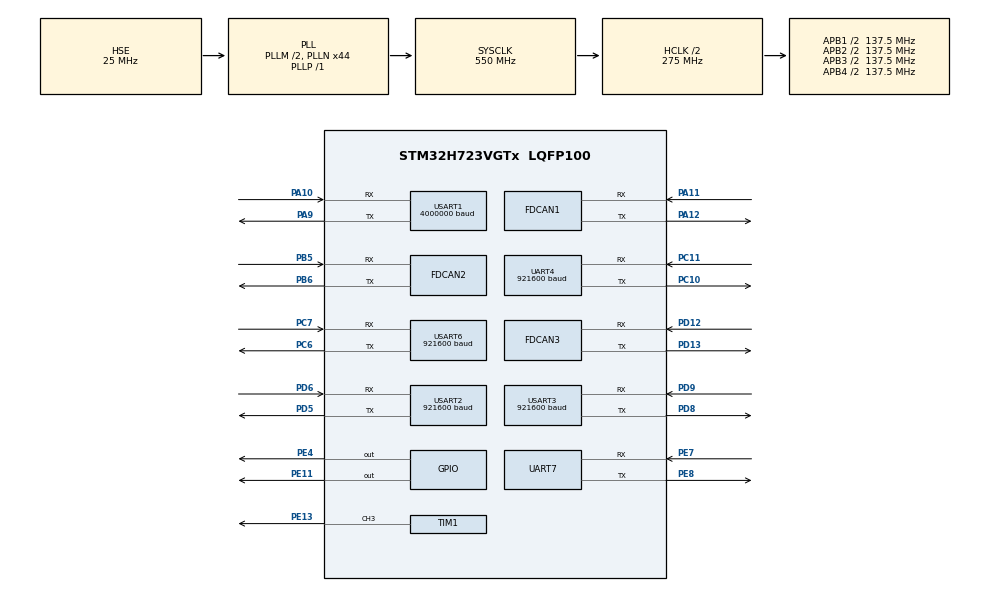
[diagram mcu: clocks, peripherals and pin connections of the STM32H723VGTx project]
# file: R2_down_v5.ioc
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CORTEX_M7.default_mode_Activation=1
Dma.Request0=UART4_RX
Dma.Request1=UART4_TX
Dma.Request10=USART2_RX
Dma.Request11=USART2_TX
Dma.Request12=TIM1_CH3
Dma.Request2=UART7_RX
Dma.Request3=UART7_TX
Dma.Request4=USART1_RX
Dma.Request5=USART1_TX
Dma.Request6=USART3_RX
Dma.Request7=USART3_TX
Dma.Request8=USART6_RX
Dma.Request9=USART6_TX
Dma.TIM1_CH3.12.Direction=DMA_MEMORY_TO_PERIPH
Dma.TIM1_CH3.12.EventEnable=DISABLE
Dma.TIM1_CH3.12.FIFOMode=DMA_FIFOMODE_DISABLE
Dma.TIM1_CH3.12.Instance=DMA2_Stream4
Dma.TIM1_CH3.12.MemDataAlignment=DMA_MDATAALIGN_HALFWORD
Dma.TIM1_CH3.12.MemInc=DMA_MINC_ENABLE
Dma.TIM1_CH3.12.Mode=DMA_NORMAL
Dma.TIM1_CH3.12.PeriphDataAlignment=DMA_PDATAALIGN_HALFWORD
Dma.TIM1_CH3.12.PeriphInc=DMA_PINC_DISABLE
Dma.TIM1_CH3.12.Polarity=HAL_DMAMUX_REQ_GEN_RISING
Dma.TIM1_CH3.12.Priority=DMA_PRIORITY_VERY_HIGH
Dma.TIM1_CH3.12.RequestNumber=1
Dma.TIM1_CH3.12.SignalID=NONE
Dma.TIM1_CH3.12.SyncEnable=DISABLE
Dma.TIM1_CH3.12.SyncPolarity=HAL_DMAMUX_SYNC_NO_EVENT
Dma.TIM1_CH3.12.SyncRequestNumber=1
Dma.TIM1_CH3.12.SyncSignalID=NONE
Dma.UART4_RX.0.Direction=DMA_PERIPH_TO_MEMORY
Dma.UART4_RX.0.EventEnable=DISABLE
Dma.UART4_RX.0.FIFOMode=DMA_FIFOMODE_DISABLE
Dma.UART4_RX.0.Instance=DMA1_Stream0
Dma.UART4_RX.0.MemDataAlignment=DMA_MDATAALIGN_BYTE
Dma.UART4_RX.0.MemInc=DMA_MINC_ENABLE
Dma.UART4_RX.0.Mode=DMA_NORMAL
Dma.UART4_RX.0.PeriphDataAlignment=DMA_PDATAALIGN_BYTE
Dma.UART4_RX.0.PeriphInc=DMA_PINC_DISABLE
Dma.UART4_RX.0.Polarity=HAL_DMAMUX_REQ_GEN_RISING
Dma.UART4_RX.0.Priority=DMA_PRIORITY_VERY_HIGH
Dma.UART4_RX.0.RequestNumber=1
Dma.UART4_RX.0.SignalID=NONE
Dma.UART4_RX.0.SyncEnable=DISABLE
Dma.UART4_RX.0.SyncPolarity=HAL_DMAMUX_SYNC_NO_EVENT
Dma.UART4_RX.0.SyncRequestNumber=1
Dma.UART4_RX.0.SyncSignalID=NONE
Dma.UART4_TX.1.Direction=DMA_MEMORY_TO_PERIPH
Dma.UART4_TX.1.EventEnable=DISABLE
Dma.UART4_TX.1.FIFOMode=DMA_FIFOMODE_DISABLE
Dma.UART4_TX.1.Instance=DMA1_Stream1
Dma.UART4_TX.1.MemDataAlignment=DMA_MDATAALIGN_BYTE
Dma.UART4_TX.1.MemInc=DMA_MINC_ENABLE
Dma.UART4_TX.1.Mode=DMA_NORMAL
Dma.UART4_TX.1.PeriphDataAlignment=DMA_PDATAALIGN_BYTE
Dma.UART4_TX.1.PeriphInc=DMA_PINC_DISABLE
Dma.UART4_TX.1.Polarity=HAL_DMAMUX_REQ_GEN_RISING
Dma.UART4_TX.1.Priority=DMA_PRIORITY_VERY_HIGH
Dma.UART4_TX.1.RequestNumber=1
Dma.UART4_TX.1.SignalID=NONE
Dma.UART4_TX.1.SyncEnable=DISABLE
Dma.UART4_TX.1.SyncPolarity=HAL_DMAMUX_SYNC_NO_EVENT
Dma.UART4_TX.1.SyncRequestNumber=1
Dma.UART4_TX.1.SyncSignalID=NONE
Dma.UART7_RX.2.Direction=DMA_PERIPH_TO_MEMORY
Dma.UART7_RX.2.EventEnable=DISABLE
Dma.UART7_RX.2.FIFOMode=DMA_FIFOMODE_DISABLE
Dma.UART7_RX.2.Instance=DMA1_Stream2
Dma.UART7_RX.2.MemDataAlignment=DMA_MDATAALIGN_BYTE
Dma.UART7_RX.2.MemInc=DMA_MINC_ENABLE
Dma.UART7_RX.2.Mode=DMA_NORMAL
Dma.UART7_RX.2.PeriphDataAlignment=DMA_PDATAALIGN_BYTE
Dma.UART7_RX.2.PeriphInc=DMA_PINC_DISABLE
Dma.UART7_RX.2.Polarity=HAL_DMAMUX_REQ_GEN_RISING
Dma.UART7_RX.2.Priority=DMA_PRIORITY_VERY_HIGH
Dma.UART7_RX.2.RequestNumber=1
Dma.UART7_RX.2.SignalID=NONE
Dma.UART7_RX.2.SyncEnable=DISABLE
Dma.UART7_RX.2.SyncPolarity=HAL_DMAMUX_SYNC_NO_EVENT
Dma.UART7_RX.2.SyncRequestNumber=1
Dma.UART7_RX.2.SyncSignalID=NONE
Dma.UART7_TX.3.Direction=DMA_MEMORY_TO_PERIPH
Dma.UART7_TX.3.EventEnable=DISABLE
Dma.UART7_TX.3.FIFOMode=DMA_FIFOMODE_DISABLE
Dma.UART7_TX.3.Instance=DMA1_Stream3
Dma.UART7_TX.3.MemDataAlignment=DMA_MDATAALIGN_BYTE
Dma.UART7_TX.3.MemInc=DMA_MINC_ENABLE
Dma.UART7_TX.3.Mode=DMA_NORMAL
Dma.UART7_TX.3.PeriphDataAlignment=DMA_PDATAALIGN_BYTE
Dma.UART7_TX.3.PeriphInc=DMA_PINC_DISABLE
Dma.UART7_TX.3.Polarity=HAL_DMAMUX_REQ_GEN_RISING
Dma.UART7_TX.3.Priority=DMA_PRIORITY_VERY_HIGH
Dma.UART7_TX.3.RequestNumber=1
Dma.UART7_TX.3.SignalID=NONE
Dma.UART7_TX.3.SyncEnable=DISABLE
Dma.UART7_TX.3.SyncPolarity=HAL_DMAMUX_SYNC_NO_EVENT
Dma.UART7_TX.3.SyncRequestNumber=1
Dma.UART7_TX.3.SyncSignalID=NONE
Dma.USART1_RX.4.Direction=DMA_PERIPH_TO_MEMORY
Dma.USART1_RX.4.EventEnable=DISABLE
Dma.USART1_RX.4.FIFOMode=DMA_FIFOMODE_DISABLE
Dma.USART1_RX.4.Instance=DMA1_Stream4
Dma.USART1_RX.4.MemDataAlignment=DMA_MDATAALIGN_BYTE
Dma.USART1_RX.4.MemInc=DMA_MINC_ENABLE
Dma.USART1_RX.4.Mode=DMA_NORMAL
Dma.USART1_RX.4.PeriphDataAlignment=DMA_PDATAALIGN_BYTE
Dma.USART1_RX.4.PeriphInc=DMA_PINC_DISABLE
Dma.USART1_RX.4.Polarity=HAL_DMAMUX_REQ_GEN_RISING
Dma.USART1_RX.4.Priority=DMA_PRIORITY_VERY_HIGH
Dma.USART1_RX.4.RequestNumber=1
Dma.USART1_RX.4.SignalID=NONE
Dma.USART1_RX.4.SyncEnable=DISABLE
Dma.USART1_RX.4.SyncPolarity=HAL_DMAMUX_SYNC_NO_EVENT
Dma.USART1_RX.4.SyncRequestNumber=1
Dma.USART1_RX.4.SyncSignalID=NONE
Dma.USART1_TX.5.Direction=DMA_MEMORY_TO_PERIPH
Dma.USART1_TX.5.EventEnable=DISABLE
Dma.USART1_TX.5.FIFOMode=DMA_FIFOMODE_DISABLE
Dma.USART1_TX.5.Instance=DMA1_Stream5
Dma.USART1_TX.5.MemDataAlignment=DMA_MDATAALIGN_BYTE
Dma.USART1_TX.5.MemInc=DMA_MINC_ENABLE
Dma.USART1_TX.5.Mode=DMA_NORMAL
Dma.USART1_TX.5.PeriphDataAlignment=DMA_PDATAALIGN_BYTE
Dma.USART1_TX.5.PeriphInc=DMA_PINC_DISABLE
Dma.USART1_TX.5.Polarity=HAL_DMAMUX_REQ_GEN_RISING
Dma.USART1_TX.5.Priority=DMA_PRIORITY_VERY_HIGH
Dma.USART1_TX.5.RequestNumber=1
Dma.USART1_TX.5.SignalID=NONE
Dma.USART1_TX.5.SyncEnable=DISABLE
Dma.USART1_TX.5.SyncPolarity=HAL_DMAMUX_SYNC_NO_EVENT
Dma.USART1_TX.5.SyncRequestNumber=1
Dma.USART1_TX.5.SyncSignalID=NONE
Dma.USART2_RX.10.Direction=DMA_PERIPH_TO_MEMORY
Dma.USART2_RX.10.EventEnable=DISABLE
Dma.USART2_RX.10.FIFOMode=DMA_FIFOMODE_DISABLE
Dma.USART2_RX.10.Instance=DMA2_Stream2
Dma.USART2_RX.10.MemDataAlignment=DMA_MDATAALIGN_BYTE
Dma.USART2_RX.10.MemInc=DMA_MINC_ENABLE
Dma.USART2_RX.10.Mode=DMA_NORMAL
Dma.USART2_RX.10.PeriphDataAlignment=DMA_PDATAALIGN_BYTE
Dma.USART2_RX.10.PeriphInc=DMA_PINC_DISABLE
Dma.USART2_RX.10.Polarity=HAL_DMAMUX_REQ_GEN_RISING
Dma.USART2_RX.10.Priority=DMA_PRIORITY_VERY_HIGH
Dma.USART2_RX.10.RequestNumber=1
Dma.USART2_RX.10.SignalID=NONE
Dma.USART2_RX.10.SyncEnable=DISABLE
Dma.USART2_RX.10.SyncPolarity=HAL_DMAMUX_SYNC_NO_EVENT
Dma.USART2_RX.10.SyncRequestNumber=1
Dma.USART2_RX.10.SyncSignalID=NONE
Dma.USART2_TX.11.Direction=DMA_MEMORY_TO_PERIPH
Dma.USART2_TX.11.EventEnable=DISABLE
Dma.USART2_TX.11.FIFOMode=DMA_FIFOMODE_DISABLE
Dma.USART2_TX.11.Instance=DMA2_Stream3
Dma.USART2_TX.11.MemDataAlignment=DMA_MDATAALIGN_BYTE
Dma.USART2_TX.11.MemInc=DMA_MINC_ENABLE
Dma.USART2_TX.11.Mode=DMA_NORMAL
Dma.USART2_TX.11.PeriphDataAlignment=DMA_PDATAALIGN_BYTE
Dma.USART2_TX.11.PeriphInc=DMA_PINC_DISABLE
Dma.USART2_TX.11.Polarity=HAL_DMAMUX_REQ_GEN_RISING
Dma.USART2_TX.11.Priority=DMA_PRIORITY_VERY_HIGH
Dma.USART2_TX.11.RequestNumber=1
Dma.USART2_TX.11.SignalID=NONE
Dma.USART2_TX.11.SyncEnable=DISABLE
Dma.USART2_TX.11.SyncPolarity=HAL_DMAMUX_SYNC_NO_EVENT
Dma.USART2_TX.11.SyncRequestNumber=1
Dma.USART2_TX.11.SyncSignalID=NONE
Dma.USART3_RX.6.Direction=DMA_PERIPH_TO_MEMORY
Dma.USART3_RX.6.EventEnable=DISABLE
Dma.USART3_RX.6.FIFOMode=DMA_FIFOMODE_DISABLE
Dma.USART3_RX.6.Instance=DMA1_Stream6
Dma.USART3_RX.6.MemDataAlignment=DMA_MDATAALIGN_BYTE
Dma.USART3_RX.6.MemInc=DMA_MINC_ENABLE
Dma.USART3_RX.6.Mode=DMA_NORMAL
Dma.USART3_RX.6.PeriphDataAlignment=DMA_PDATAALIGN_BYTE
Dma.USART3_RX.6.PeriphInc=DMA_PINC_DISABLE
Dma.USART3_RX.6.Polarity=HAL_DMAMUX_REQ_GEN_RISING
Dma.USART3_RX.6.Priority=DMA_PRIORITY_VERY_HIGH
Dma.USART3_RX.6.RequestNumber=1
Dma.USART3_RX.6.SignalID=NONE
Dma.USART3_RX.6.SyncEnable=DISABLE
Dma.USART3_RX.6.SyncPolarity=HAL_DMAMUX_SYNC_NO_EVENT
Dma.USART3_RX.6.SyncRequestNumber=1
Dma.USART3_RX.6.SyncSignalID=NONE
Dma.USART3_TX.7.Direction=DMA_MEMORY_TO_PERIPH
Dma.USART3_TX.7.EventEnable=DISABLE
Dma.USART3_TX.7.FIFOMode=DMA_FIFOMODE_DISABLE
Dma.USART3_TX.7.Instance=DMA1_Stream7
Dma.USART3_TX.7.MemDataAlignment=DMA_MDATAALIGN_BYTE
Dma.USART3_TX.7.MemInc=DMA_MINC_ENABLE
Dma.USART3_TX.7.Mode=DMA_NORMAL
Dma.USART3_TX.7.PeriphDataAlignment=DMA_PDATAALIGN_BYTE
Dma.USART3_TX.7.PeriphInc=DMA_PINC_DISABLE
Dma.USART3_TX.7.Polarity=HAL_DMAMUX_REQ_GEN_RISING
Dma.USART3_TX.7.Priority=DMA_PRIORITY_VERY_HIGH
Dma.USART3_TX.7.RequestNumber=1
Dma.USART3_TX.7.SignalID=NONE
Dma.USART3_TX.7.SyncEnable=DISABLE
Dma.USART3_TX.7.SyncPolarity=HAL_DMAMUX_SYNC_NO_EVENT
Dma.USART3_TX.7.SyncRequestNumber=1
Dma.USART3_TX.7.SyncSignalID=NONE
Dma.USART6_RX.8.Direction=DMA_PERIPH_TO_MEMORY
Dma.USART6_RX.8.EventEnable=DISABLE
Dma.USART6_RX.8.FIFOMode=DMA_FIFOMODE_DISABLE
Dma.USART6_RX.8.Instance=DMA2_Stream0
Dma.USART6_RX.8.MemDataAlignment=DMA_MDATAALIGN_BYTE
Dma.USART6_RX.8.MemInc=DMA_MINC_ENABLE
Dma.USART6_RX.8.Mode=DMA_NORMAL
Dma.USART6_RX.8.PeriphDataAlignment=DMA_PDATAALIGN_BYTE
Dma.USART6_RX.8.PeriphInc=DMA_PINC_DISABLE
Dma.USART6_RX.8.Polarity=HAL_DMAMUX_REQ_GEN_RISING
Dma.USART6_RX.8.Priority=DMA_PRIORITY_VERY_HIGH
Dma.USART6_RX.8.RequestNumber=1
Dma.USART6_RX.8.SignalID=NONE
Dma.USART6_RX.8.SyncEnable=DISABLE
Dma.USART6_RX.8.SyncPolarity=HAL_DMAMUX_SYNC_NO_EVENT
Dma.USART6_RX.8.SyncRequestNumber=1
Dma.USART6_RX.8.SyncSignalID=NONE
Dma.USART6_TX.9.Direction=DMA_MEMORY_TO_PERIPH
Dma.USART6_TX.9.EventEnable=DISABLE
Dma.USART6_TX.9.FIFOMode=DMA_FIFOMODE_DISABLE
Dma.USART6_TX.9.Instance=DMA2_Stream1
Dma.USART6_TX.9.MemDataAlignment=DMA_MDATAALIGN_BYTE
Dma.USART6_TX.9.MemInc=DMA_MINC_ENABLE
Dma.USART6_TX.9.Mode=DMA_NORMAL
Dma.USART6_TX.9.PeriphDataAlignment=DMA_PDATAALIGN_BYTE
Dma.USART6_TX.9.PeriphInc=DMA_PINC_DISABLE
Dma.USART6_TX.9.Polarity=HAL_DMAMUX_REQ_GEN_RISING
Dma.USART6_TX.9.Priority=DMA_PRIORITY_VERY_HIGH
Dma.USART6_TX.9.RequestNumber=1
Dma.USART6_TX.9.SignalID=NONE
Dma.USART6_TX.9.SyncEnable=DISABLE
Dma.USART6_TX.9.SyncPolarity=HAL_DMAMUX_SYNC_NO_EVENT
Dma.USART6_TX.9.SyncRequestNumber=1
Dma.USART6_TX.9.SyncSignalID=NONE
FDCAN1.AutoRetransmission=ENABLE
FDCAN1.CalculateBaudRateNominal=1000000
FDCAN1.CalculateTimeBitNominal=1000
FDCAN1.CalculateTimeQuantumNominal=40.0
FDCAN1.DataSyncJumpWidth=6
FDCAN1.DataTimeSeg1=18
FDCAN1.DataTimeSeg2=6
FDCAN1.Mode=FDCAN_MODE_NORMAL
FDCAN1.NominalPrescaler=1
FDCAN1.NominalSyncJumpWidth=6
FDCAN1.NominalTimeSeg1=18
FDCAN1.NominalTimeSeg2=6
FDCAN1.RxFifo0ElmtsNbr=4
FDCAN1.StdFiltersNbr=1
FDCAN1.TxBuffersNbr=16
FDCAN1.TxFifoQueueElmtsNbr=16
FDCAN2.AutoRetransmission=ENABLE
FDCAN2.CalculateBaudRateNominal=1000000
FDCAN2.CalculateTimeBitNominal=1000
FDCAN2.CalculateTimeQuantumNominal=40.0
FDCAN2.DataSyncJumpWidth=6
FDCAN2.DataTimeSeg1=18
FDCAN2.DataTimeSeg2=6
FDCAN2.MessageRAMOffset=800
FDCAN2.NominalPrescaler=1
FDCAN2.NominalSyncJumpWidth=6
FDCAN2.NominalTimeSeg1=18
FDCAN2.NominalTimeSeg2=6
FDCAN2.RxFifo0ElmtsNbr=4
FDCAN2.StdFiltersNbr=1
FDCAN2.TxBuffersNbr=16
FDCAN2.TxFifoQueueElmtsNbr=16
FDCAN3.AutoRetransmission=ENABLE
FDCAN3.CalculateBaudRateNominal=1000000
FDCAN3.CalculateTimeBitNominal=1000
FDCAN3.CalculateTimeQuantumNominal=40.0
FDCAN3.DataSyncJumpWidth=6
FDCAN3.DataTimeSeg1=18
FDCAN3.DataTimeSeg2=6
FDCAN3.MessageRAMOffset=1600
FDCAN3.NominalPrescaler=1
FDCAN3.NominalSyncJumpWidth=6
FDCAN3.NominalTimeSeg1=18
FDCAN3.NominalTimeSeg2=6
FDCAN3.RxFifo0ElmtsNbr=4
FDCAN3.StdFiltersNbr=1
FDCAN3.TxBuffersNbr=16
FDCAN3.TxFifoQueueElmtsNbr=16
FREERTOS.Tasks01=vofa_task,24,512,vofa_task_,Default,NULL,Dynamic,NULL,NULL;all_logic_task,24,2048,all_logic_task_,Default,NULL,Dynamic,NULL,NULL;run_led_task,24,128,run_led_task_,Default,NULL,Dynamic,NULL,NULL;pos_yaw_task,24,512,pos_yaw_task_,Default,NULL,Dynamic,NULL,NULL
Mcu.Family=STM32H7
Mcu.Name=STM32H723VGTx
Mcu.Package=LQFP100
NVIC.DMA1_Stream0_IRQn=true\:5\:0\:false\:false\:true\:true\:false\:true\:true
NVIC.DMA1_Stream1_IRQn=true\:5\:0\:false\:false\:true\:true\:false\:true\:true
NVIC.DMA1_Stream2_IRQn=true\:5\:0\:false\:false\:true\:true\:false\:true\:true
NVIC.DMA1_Stream3_IRQn=true\:5\:0\:false\:false\:true\:true\:false\:true\:true
NVIC.DMA1_Stream4_IRQn=true\:5\:0\:false\:false\:true\:true\:false\:true\:true
NVIC.DMA1_Stream5_IRQn=true\:5\:0\:false\:false\:true\:true\:false\:true\:true
NVIC.DMA1_Stream6_IRQn=true\:5\:0\:false\:false\:true\:true\:false\:true\:true
NVIC.DMA1_Stream7_IRQn=true\:5\:0\:false\:false\:true\:true\:false\:true\:true
NVIC.DMA2_Stream0_IRQn=true\:5\:0\:false\:false\:true\:true\:false\:true\:true
NVIC.DMA2_Stream1_IRQn=true\:5\:0\:false\:false\:true\:true\:false\:true\:true
NVIC.DMA2_Stream2_IRQn=true\:5\:0\:false\:false\:true\:true\:false\:true\:true
NVIC.DMA2_Stream3_IRQn=true\:5\:0\:false\:false\:true\:true\:false\:true\:true
NVIC.DMA2_Stream4_IRQn=true\:5\:0\:false\:false\:true\:true\:false\:true\:true
NVIC.FDCAN1_IT0_IRQn=true\:5\:0\:false\:false\:true\:true\:true\:true\:true
NVIC.FDCAN2_IT0_IRQn=true\:5\:0\:false\:false\:true\:true\:true\:true\:true
NVIC.FDCAN3_IT0_IRQn=true\:5\:0\:false\:false\:true\:true\:true\:true\:true
NVIC.PriorityGroup=NVIC_PRIORITYGROUP_4
NVIC.TIM5_IRQn=true\:5\:0\:false\:false\:true\:true\:true\:true\:true
NVIC.TIM6_DAC_IRQn=true\:15\:0\:false\:false\:true\:false\:false\:true\:true
NVIC.TIM7_IRQn=true\:5\:0\:false\:false\:true\:true\:true\:true\:true
NVIC.TimeBase=TIM6_DAC_IRQn
NVIC.TimeBaseIP=TIM6
NVIC.UART4_IRQn=true\:5\:0\:false\:false\:true\:true\:true\:true\:true
NVIC.UART7_IRQn=true\:5\:0\:false\:false\:true\:true\:true\:true\:true
NVIC.USART1_IRQn=true\:5\:0\:false\:false\:true\:true\:true\:true\:true
NVIC.USART2_IRQn=true\:5\:0\:false\:false\:true\:true\:true\:true\:true
NVIC.USART3_IRQn=true\:5\:0\:false\:false\:true\:true\:true\:true\:true
NVIC.USART6_IRQn=true\:5\:0\:false\:false\:true\:true\:true\:true\:true
PA10.GPIO_Speed=GPIO_SPEED_FREQ_VERY_HIGH
PA10.Mode=Asynchronous
PA10.Signal=USART1_RX
PA11.GPIO_Speed=GPIO_SPEED_FREQ_VERY_HIGH
PA11.Mode=FDCAN_Activate
PA11.Signal=FDCAN1_RX
PA12.GPIO_Speed=GPIO_SPEED_FREQ_VERY_HIGH
PA12.Mode=FDCAN_Activate
PA12.Signal=FDCAN1_TX
PA13(JTMS/SWDIO).Mode=Serial_Wire
PA13(JTMS/SWDIO).Signal=DEBUG_JTMS-SWDIO
PA14(JTCK/SWCLK).Mode=Serial_Wire
PA14(JTCK/SWCLK).Signal=DEBUG_JTCK-SWCLK
PA9.GPIO_Speed=GPIO_SPEED_FREQ_VERY_HIGH
PA9.Mode=Asynchronous
PA9.Signal=USART1_TX
PB5.GPIO_Speed=GPIO_SPEED_FREQ_VERY_HIGH
PB5.Mode=FDCAN_Activate
PB5.Signal=FDCAN2_RX
PB6.GPIO_Speed=GPIO_SPEED_FREQ_VERY_HIGH
PB6.Mode=FDCAN_Activate
PB6.Signal=FDCAN2_TX
PC10.GPIO_Speed=GPIO_SPEED_FREQ_VERY_HIGH
PC10.Mode=Asynchronous
PC10.Signal=UART4_TX
PC11.GPIO_Speed=GPIO_SPEED_FREQ_VERY_HIGH
PC11.Mode=Asynchronous
PC11.Signal=UART4_RX
PC14-OSC32_IN.Mode=LSE-External-Oscillator
PC14-OSC32_IN.Signal=RCC_OSC32_IN
PC15-OSC32_OUT.Mode=LSE-External-Oscillator
PC15-OSC32_OUT.Signal=RCC_OSC32_OUT
PC6.GPIO_Speed=GPIO_SPEED_FREQ_VERY_HIGH
PC6.Mode=Asynchronous
PC6.Signal=USART6_TX
PC7.GPIO_Speed=GPIO_SPEED_FREQ_VERY_HIGH
PC7.Mode=Asynchronous
PC7.Signal=USART6_RX
PD12.GPIO_Speed=GPIO_SPEED_FREQ_VERY_HIGH
PD12.Mode=FDCAN_Activate
PD12.Signal=FDCAN3_RX
PD13.GPIO_Speed=GPIO_SPEED_FREQ_VERY_HIGH
PD13.Mode=FDCAN_Activate
PD13.Signal=FDCAN3_TX
PD5.GPIO_Speed=GPIO_SPEED_FREQ_VERY_HIGH
PD5.Mode=Asynchronous
PD5.Signal=USART2_TX
PD6.GPIO_Speed=GPIO_SPEED_FREQ_VERY_HIGH
PD6.Mode=Asynchronous
PD6.Signal=USART2_RX
PD8.GPIO_Speed=GPIO_SPEED_FREQ_VERY_HIGH
PD8.Mode=Asynchronous
PD8.Signal=USART3_TX
PD9.GPIO_Speed=GPIO_SPEED_FREQ_VERY_HIGH
PD9.Mode=Asynchronous
PD9.Signal=USART3_RX
PE11.Signal=GPIO_Output
PE13.GPIO_PuPd=GPIO_PULLUP
PE13.GPIO_Speed=GPIO_SPEED_FREQ_VERY_HIGH
PE13.Signal=S_TIM1_CH3
PE4.GPIO_PuPd=GPIO_PULLDOWN
PE4.GPIO_Speed=GPIO_SPEED_FREQ_VERY_HIGH
PE4.PinState=GPIO_PIN_SET
PE4.Signal=GPIO_Output
PE7.GPIO_PuPd=GPIO_NOPULL
PE7.GPIO_Speed=GPIO_SPEED_FREQ_VERY_HIGH
PE7.Mode=Asynchronous
PE7.Signal=UART7_RX
PE8.GPIO_Speed=GPIO_SPEED_FREQ_VERY_HIGH
PE8.Mode=Asynchronous
PE8.Signal=UART7_TX
PH0-OSC_IN.Mode=HSE-External-Oscillator
PH0-OSC_IN.Signal=RCC_OSC_IN
PH1-OSC_OUT.Mode=HSE-External-Oscillator
PH1-OSC_OUT.Signal=RCC_OSC_OUT
ProjectManager.HeapSize=0x200
ProjectManager.StackSize=0x400
ProjectManager.TargetToolchain=MDK-ARM V5.32
RCC.ADCFreq_Value=50390625
RCC.APB1Freq_Value=137500000
RCC.APB2Freq_Value=137500000
RCC.APB3Freq_Value=137500000
RCC.APB4Freq_Value=137500000
RCC.CortexFreq_Value=550000000
RCC.D1PPRE=RCC_APB3_DIV2
RCC.D2PPRE1=RCC_APB1_DIV2
RCC.D2PPRE2=RCC_APB2_DIV2
RCC.D3PPRE=RCC_APB4_DIV2
RCC.DIVM1=2
RCC.DIVN1=44
RCC.DIVP1=1
RCC.DIVQ1=4
RCC.FDCANCLockSelection=RCC_FDCANCLKSOURCE_HSE
RCC.HCLKFreq_Value=275000000
RCC.HPRE=RCC_HCLK_DIV2
RCC.PLLFRACN=0
RCC.PLLSourceVirtual=RCC_PLLSOURCE_HSE
RCC.SYSCLKFreq_VALUE=550000000
RCC.SYSCLKSource=RCC_SYSCLKSOURCE_PLLCLK
RCC.USBFreq_Value=137500000
SH.S_TIM1_CH3.0=TIM1_CH3,PWM Generation3 CH3
TIM1.Channel-PWM\ Generation3\ CH3=TIM_CHANNEL_3
TIM1.Period=343
TIM1.Prescaler=0
TIM5.AutoReloadPreload=TIM_AUTORELOAD_PRELOAD_ENABLE
TIM5.Period=250-1
TIM5.Prescaler=275-1
TIM7.AutoReloadPreload=TIM_AUTORELOAD_PRELOAD_ENABLE
TIM7.Period=999
TIM7.Prescaler=275-1
UART4.BaudRate=921600
UART4.OverSampling=UART_OVERSAMPLING_8
USART1.BaudRate=4000000
USART1.OverSampling=UART_OVERSAMPLING_8
USART1.VirtualMode-Asynchronous=VM_ASYNC
USART2.BaudRate=921600
USART2.OverSampling=UART_OVERSAMPLING_8
USART2.VirtualMode-Asynchronous=VM_ASYNC
USART3.BaudRate=921600
USART3.OverSampling=UART_OVERSAMPLING_8
USART3.VirtualMode-Asynchronous=VM_ASYNC
USART6.BaudRate=921600
USART6.OverSampling=UART_OVERSAMPLING_8
USART6.VirtualMode=VM_ASYNC
VP_FREERTOS_VS_CMSIS_V2.Mode=CMSIS_V2
VP_MEMORYMAP_VS_MEMORYMAP.Mode=CurAppReg
VP_SYS_VS_tim6.Mode=TIM6
VP_TIM1_VS_ClockSourceINT.Mode=Internal
VP_TIM5_VS_ClockSourceINT.Mode=Internal
VP_TIM7_VS_ClockSourceINT.Mode=Enable_Timer
board=custom

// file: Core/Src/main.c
/* USER CODE BEGIN Header */
/**
  ******************************************************************************
  * @file           : main.c
  * @brief          : Main program body
  ******************************************************************************
  * @attention
  *
  * Copyright (c) 2026 STMicroelectronics.
  * All rights reserved.
  *
  * This software is licensed under terms that can be found in the LICENSE file
  * in the root directory of this software component.
  * If no LICENSE file comes with this software, it is provided AS-IS.
  *
  ******************************************************************************
  */
/* USER CODE END Header */
#include "main.h"
#include "FreeRTOS.h"
#include "cmsis_os2.h"
#include "dma.h"
#include "fdcan.h"
#include "tim.h"
#include "usart.h"
#include "gpio.h"

/* USER CODE BEGIN Includes */
#include "Type.h"
#include "ALL_INIT.h"
#include "communication.h"
/* USER CODE END Includes */

void SystemClock_Config(void);
static void MPU_Config(void);
void MX_FREERTOS_Init(void);

int main(void)
{

  /* MPU Configuration--------------------------------------------------------*/
  MPU_Config();

  /* MCU Configuration--------------------------------------------------------*/

  /* Reset of all peripherals, Initializes the Flash interface and the Systick. */
  HAL_Init();

  /* Configure the system clock */
  SystemClock_Config();

  /* Initialize all configured peripherals */
  MX_GPIO_Init();
  MX_DMA_Init();
  MX_FDCAN1_Init();
  MX_FDCAN2_Init();
  MX_FDCAN3_Init();
  MX_UART4_Init();
  MX_UART7_Init();
  MX_USART1_UART_Init();
  MX_USART3_UART_Init();
  MX_TIM7_Init();
  MX_USART6_UART_Init();
  MX_TIM5_Init();
  MX_USART2_UART_Init();
  MX_TIM1_Init();
  /* USER CODE BEGIN 2 */
	HAL_Delay(60);
	all_init();
  /* USER CODE END 2 */

  /* Init scheduler */
  osKernelInitialize();  /* Call init function for freertos objects (in cmsis_os2.c) */
  MX_FREERTOS_Init();

  /* Start scheduler */
  osKernelStart();

  /* We should never get here as control is now taken by the scheduler */

  /* Infinite loop */
  while (1)
  {

  }
}

void SystemClock_Config(void)
{
  RCC_OscInitTypeDef RCC_OscInitStruct = {0};
  RCC_ClkInitTypeDef RCC_ClkInitStruct = {0};

  /** Supply configuration update enable
  */
  HAL_PWREx_ConfigSupply(PWR_LDO_SUPPLY);

  /** Configure the main internal regulator output voltage
  */
  __HAL_PWR_VOLTAGESCALING_CONFIG(PWR_REGULATOR_VOLTAGE_SCALE0);

  while(!__HAL_PWR_GET_FLAG(PWR_FLAG_VOSRDY)) {}

  /** Initializes the RCC Oscillators according to the specified parameters
  * in the RCC_OscInitTypeDef structure.
  */
  RCC_OscInitStruct.OscillatorType = RCC_OSCILLATORTYPE_HSE;
  RCC_OscInitStruct.HSEState = RCC_HSE_ON;
  RCC_OscInitStruct.PLL.PLLState = RCC_PLL_ON;
  RCC_OscInitStruct.PLL.PLLSource = RCC_PLLSOURCE_HSE;
  RCC_OscInitStruct.PLL.PLLM = 2;
  RCC_OscInitStruct.PLL.PLLN = 44;
  RCC_OscInitStruct.PLL.PLLP = 1;
  RCC_OscInitStruct.PLL.PLLQ = 4;
  RCC_OscInitStruct.PLL.PLLR = 2;
  RCC_OscInitStruct.PLL.PLLRGE = RCC_PLL1VCIRANGE_3;
  RCC_OscInitStruct.PLL.PLLVCOSEL = RCC_PLL1VCOWIDE;
  RCC_OscInitStruct.PLL.PLLFRACN = 0;
  if (HAL_RCC_OscConfig(&RCC_OscInitStruct) != HAL_OK)
  {
    Error_Handler();
  }

  /** Initializes the CPU, AHB and APB buses clocks
  */
  RCC_ClkInitStruct.ClockType = RCC_CLOCKTYPE_HCLK|RCC_CLOCKTYPE_SYSCLK
                              |RCC_CLOCKTYPE_PCLK1|RCC_CLOCKTYPE_PCLK2
                              |RCC_CLOCKTYPE_D3PCLK1|RCC_CLOCKTYPE_D1PCLK1;
  RCC_ClkInitStruct.SYSCLKSource = RCC_SYSCLKSOURCE_PLLCLK;
  RCC_ClkInitStruct.SYSCLKDivider = RCC_SYSCLK_DIV1;
  RCC_ClkInitStruct.AHBCLKDivider = RCC_HCLK_DIV2;
  RCC_ClkInitStruct.APB3CLKDivider = RCC_APB3_DIV2;
  RCC_ClkInitStruct.APB1CLKDivider = RCC_APB1_DIV2;
  RCC_ClkInitStruct.APB2CLKDivider = RCC_APB2_DIV2;
  RCC_ClkInitStruct.APB4CLKDivider = RCC_APB4_DIV2;

  if (HAL_RCC_ClockConfig(&RCC_ClkInitStruct, FLASH_LATENCY_3) != HAL_OK)
  {
    Error_Handler();
  }
}

/* USER CODE BEGIN 4 */

// H7 的 FDCAN 将错误细分为了两类回调：
// 1. HAL_FDCAN_ErrorCallback (处理常规错误)
// 2. HAL_FDCAN_ErrorStatusCallback (专门处理状态改变，比如 Bus-Off、Error Passive)
// 使用第 2 个回调函数。
void HAL_FDCAN_ErrorStatusCallback(FDCAN_HandleTypeDef *hfdcan, uint32_t ErrorStatusITs) {
    if (hfdcan == &hfdcan1 || hfdcan == &hfdcan2 || hfdcan == &hfdcan3) { // 确认是哪个 CAN 通道触发的
        // 判断中断触发类型是不是 Bus-Off
        if ((ErrorStatusITs & FDCAN_IT_BUS_OFF) != RESET) {
            // 如果是，立即调用刚才写好的复位函数
            CAN_bus_off_check_reset(hfdcan);
        }
    }
}
/* USER CODE END 4 */

 /* MPU Configuration */

void MPU_Config(void)
{
  MPU_Region_InitTypeDef MPU_InitStruct = {0};

  /* Disables the MPU */
  HAL_MPU_Disable();

  /** Initializes and configures the Region and the memory to be protected
  */
  MPU_InitStruct.Enable = MPU_REGION_ENABLE;
  MPU_InitStruct.Number = MPU_REGION_NUMBER0;
  MPU_InitStruct.BaseAddress = 0x0;
  MPU_InitStruct.Size = MPU_REGION_SIZE_4GB;
  MPU_InitStruct.SubRegionDisable = 0x87;
  MPU_InitStruct.TypeExtField = MPU_TEX_LEVEL0;
  MPU_InitStruct.AccessPermission = MPU_REGION_NO_ACCESS;
  MPU_InitStruct.DisableExec = MPU_INSTRUCTION_ACCESS_DISABLE;
  MPU_InitStruct.IsShareable = MPU_ACCESS_SHAREABLE;
  MPU_InitStruct.IsCacheable = MPU_ACCESS_NOT_CACHEABLE;
  MPU_InitStruct.IsBufferable = MPU_ACCESS_NOT_BUFFERABLE;

  HAL_MPU_ConfigRegion(&MPU_InitStruct);
  /* Enables the MPU */
  HAL_MPU_Enable(MPU_PRIVILEGED_DEFAULT);

}

void HAL_TIM_PeriodElapsedCallback(TIM_HandleTypeDef *htim)
{
  /* USER CODE BEGIN Callback 0 */
  	 if(htim->Instance == TIM5)
	 {
	  GO1_pid_change();
		GO_ctrl_logic();
	 } else if (htim->Instance == TIM7)
		{
				Path_Point.point_tim++;
			static uint16_t current_time_ms=0;
				current_time_ms++;
		if(current_time_ms>=1000)
			{
				memcpy(&monitor.rate_fps, &monitor.rate_cnt, sizeof(monitor.rate_cnt));
				memset(&monitor.rate_cnt, 0, sizeof(monitor.rate_cnt));
				current_time_ms = 0;
			}
		}
  /* USER CODE END Callback 0 */
  if (htim->Instance == TIM6)
  {
    HAL_IncTick();
  }
}

void Error_Handler(void)
{
  __disable_irq();
  while (1)
  {
  }
}

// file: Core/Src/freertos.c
/* USER CODE BEGIN Header */
/**
  ******************************************************************************
  * File Name          : freertos.c
  * Description        : Code for freertos applications
  ******************************************************************************
  * @attention
  *
  * Copyright (c) 2026 STMicroelectronics.
  * All rights reserved.
  *
  * This software is licensed under terms that can be found in the LICENSE file
  * in the root directory of this software component.
  * If no LICENSE file comes with this software, it is provided AS-IS.
  *
  ******************************************************************************
  */
/* USER CODE END Header */

#include "FreeRTOS.h"
#include "task.h"
#include "main.h"
#include "FreeRTOS.h"
#include "cmsis_os2.h"

/* USER CODE BEGIN Includes */
#include "Type.h"
#include "CAN_BSP.h"
#include "PID.h"
#include "GO1_MOTOR.h"
#include "chassis.h"
#include "communication.h"
#include "path.h"
#include "up_down_step.h"
#include "vofa.h"
#include "navigation.h"
#include "ramp_task.h"
#include "JSValue.h"
/* USER CODE END Includes */

/* USER CODE BEGIN PTD */
	uint8_t test_vision_flag = 0;
/* USER CODE END PTD */

/* Definitions for vofa_task */
osThreadId_t vofa_taskHandle;
const osThreadAttr_t vofa_task_attributes = {
  .name = "vofa_task",
  .stack_size = 512 * 4,
  .priority = (osPriority_t) osPriorityNormal,
};
/* Definitions for all_logic_task */
osThreadId_t all_logic_taskHandle;
const osThreadAttr_t all_logic_task_attributes = {
  .name = "all_logic_task",
  .stack_size = 2048 * 4,
  .priority = (osPriority_t) osPriorityNormal,
};
/* Definitions for run_led_task */
osThreadId_t run_led_taskHandle;
const osThreadAttr_t run_led_task_attributes = {
  .name = "run_led_task",
  .stack_size = 128 * 4,
  .priority = (osPriority_t) osPriorityNormal,
};
/* Definitions for pos_yaw_task */
osThreadId_t pos_yaw_taskHandle;
const osThreadAttr_t pos_yaw_task_attributes = {
  .name = "pos_yaw_task",
  .stack_size = 512 * 4,
  .priority = (osPriority_t) osPriorityNormal,
};

void vofa_task_(void *argument);
void all_logic_task_(void *argument);
void run_led_task_(void *argument);
void pos_yaw_task_(void *argument);

void MX_FREERTOS_Init(void); /* (MISRA C 2004 rule 8.1) */

void MX_FREERTOS_Init(void) {

  /* Create the thread(s) */
  /* creation of vofa_task */
  vofa_taskHandle = osThreadNew(vofa_task_, NULL, &vofa_task_attributes);

  /* creation of all_logic_task */
  all_logic_taskHandle = osThreadNew(all_logic_task_, NULL, &all_logic_task_attributes);

  /* creation of run_led_task */
  run_led_taskHandle = osThreadNew(run_led_task_, NULL, &run_led_task_attributes);

  /* creation of pos_yaw_task */
  pos_yaw_taskHandle = osThreadNew(pos_yaw_task_, NULL, &pos_yaw_task_attributes);

}

void vofa_task_(void *argument)
{
  /* USER CODE BEGIN vofa_task_ */

  /* Infinite loop */
  for(;;)
  {
		vofa[12]=chassis_run.wheel_1.fpDes;
		vofa[13]=chassis_run.wheel_1.fpFB;

		vofa[14]=chassis_run.wheel_2.fpDes;
		vofa[15]=chassis_run.wheel_2.fpFB;

		vofa[16]=chassis_run.wheel_3.fpDes;
		vofa[17]=chassis_run.wheel_3.fpFB;

		vofa[18]=chassis_run.wheel_4.fpDes;
		vofa[19]=chassis_run.wheel_4.fpFB;

//		vofa[0]=chassis_run.wheel_1.friction;
//		vofa[1]=chassis_run.wheel_2.friction;
//		vofa[2]=chassis_run.wheel_3.friction;
//		vofa[3]=chassis_run.wheel_4.friction;

//		vofa[20]=chassis_run.wheel_1.fpU;
//		vofa[21]=chassis_run.wheel_2.fpU;
//		vofa[22]=chassis_run.wheel_3.fpU;
//		vofa[23]=chassis_run.wheel_4.fpU;
//
//		vofa[5] = chassis_run.wheel_1.fpUp;
//		vofa[6] =	chassis_run.wheel_2.fpUp;
//		vofa[8] = chassis_run.wheel_3.fpUp;
//		vofa[9] = chassis_run.wheel_4.fpUp;
//

//		vofa[8]=chassis_run.wheel_1.fpUi;
//		vofa[9]=chassis_run.wheel_2.fpUi;
//		vofa[10]=chassis_run.wheel_3.fpUi;
//		vofa[11]=chassis_run.wheel_4.fpUi;
//
//		vofa[4]=chassis_run.wheel_1.fpUff;
//		vofa[5]=chassis_run.wheel_2.fpUff;
//		vofa[6]=chassis_run.wheel_3.fpUff;
//		vofa[7]=chassis_run.wheel_4.fpUff;

//		vofa[0]=point_only.pid_x.fpDes;
//		vofa[1]=point_only.pid_x.fpFB;
//		vofa[2]=point_only.pid_x.fpUi;
//		vofa[3]=point_only.pid_x.fpU;
//
//		vofa[4]=point_only.pid_y.fpDes;
//		vofa[5]=point_only.pid_y.fpFB;
//		vofa[6]=point_only.pid_y.fpUi;
//		vofa[7]=point_only.pid_y.fpU;
//
//		vofa[8]=point_only.pid_w.fpDes;
//		vofa[9]=point_only.pid_w.fpFB;
//		vofa[10]=point_only.pid_w.fpUi;
//		vofa[11]=point_only.pid_w.fpU;
//
//		vofa[10]=robot_pos.fpPosX;
//		vofa[11]=robot_pos.fpPosY;

//		vofa[14]=chassis_run.wheel_1.fpDes;
//		vofa[15]=chassis_run.wheel_1.fpFB;
//
		vofa[0]=nav.expect_robot_global_velt.fpX;
		vofa[1]=nav.expect_robot_global_velt.fpY;
		vofa[2]=nav.expect_robot_global_velt.fpW;
		vofa[3]=fabs(nav.auto_path.pos_pid.pid_x.fpE);

		vofa[4]=nav.auto_path.pos_pid.pid_x.fpDes;
		vofa[5]=nav.auto_path.pos_pid.pid_y.fpDes;
		vofa[6]=nav.auto_path.pos_pid.pid_w.fpDes;

		vofa[7]=nav.auto_path.pos_pid.pid_x.fpFB;
		vofa[8]=nav.auto_path.pos_pid.pid_y.fpFB;
		vofa[9]=nav.auto_path.pos_pid.pid_w.fpFB;
//
//		vofa[10]=nav.nav_state;
//		vofa[11]=ramp_state;
//		vofa[12]=V_W;

		if(monitor.rate_fps.vision>=200&&fabs(robot_pos.fpPosX)<=20000&&fabs(robot_pos.fpPosY)<=20000&&robot_pos.fpPosY!=0&&robot_pos.fpPosX!=0){key_send[1] = 1;}else{key_send[1] = 2;}

		if(vision_data_recieve.KFS_number!=0&&vision_data_recieve.path_number!=0){key_send[2] = 1;}else{key_send[2] = 2;}

		if(!gyro_or_radar){key_send[3] = 1;}else {key_send[3] = 2;}

		start_key();
		usart_all_ctrl_send();

		remote_send_();

		vision_send_task();

		VOFA_transmit_data(vofa, 25);
    osDelay(1);
  }
  /* USER CODE END vofa_task_ */
}

void all_logic_task_(void *argument)
{
  /* USER CODE BEGIN all_logic_task_ */
  /* Infinite loop */
  for(;;)
  {
		all_path_logic();

    if(ramp_test_flag ==1)
    {
      ramp_task();
    }
		Navigate_Task();
		up_down_logic();
		choose_pid_yaw();

	  usart_inner_send();
		SpeedDistribute_Four_OmnidriectionalWhile(&nav.expect_robot_global_velt);

		PID_Calc_NEW_wheel(&chassis_run.wheel_1);
		PID_Calc_NEW_wheel(&chassis_run.wheel_2);
		PID_Calc_NEW_wheel(&chassis_run.wheel_3);
		PID_Calc_NEW_wheel(&chassis_run.wheel_4);
		PID_Calc_NEW(&dji_run.DJI_1);
		PID_Calc_NEW(&dji_run.DJI_2);

		if(ctrl_flag.chassis_flag == 0)	{CAN_SendCurrent(&hfdcan2,0x200,1,1,1,1);}
		else if(ctrl_flag.chassis_flag == 1)
		{CAN_SendCurrent(&hfdcan2,0x200,chassis_run.wheel_1.fpU,chassis_run.wheel_2.fpU,chassis_run.wheel_3.fpU,chassis_run.wheel_4.fpU);}

		if(ctrl_flag.dji_flag == 0)
		{CAN_SendCurrent(&hfdcan1,0x200,0,0,0,0);}else if(ctrl_flag.dji_flag == 1)
		{CAN_SendCurrent(&hfdcan1,0x200,dji_run.DJI_1.fpU,dji_run.DJI_2.fpU,0,0);}

		airCtrl[0] = bin_array_to_u8(AirOperaterCtrlBuf);
		CAN_SendStdData(&hfdcan1,0X300,airCtrl,1);

    osDelay(1);
  }
  /* USER CODE END all_logic_task_ */
}

void run_led_task_(void *argument)
{
  /* USER CODE BEGIN run_led_task_ */
	static uint16_t delay_500 = 0;
	static uint8_t  delay_20 = 0;
	static uint8_t red,blue,green = 0;
  /* Infinite loop */
  for(;;)
  {
		delay_500++;
		delay_20++;
		if(delay_500>=500)
		{
			if(vision_data_recieve.KFS_number!=0&&monitor.rate_fps.vision>=200){HAL_GPIO_WritePin(GPIOE, GPIO_PIN_4, GPIO_PIN_SET);}
			else {HAL_GPIO_TogglePin(GPIOE, GPIO_PIN_4);}
			delay_500=0;
		}

		if(delay_20>=20)
		{
       WS2812_AllSet(red,blue,green);
       WS2812_Update();
			 delay_20 = 0;
		}

		if(vision_data_recieve.path_number == 1){red=1;blue=0;green=0;}
		else if(vision_data_recieve.path_number == 2){red=0;blue=0;green=1;}
		else if(vision_data_recieve.path_number == 3){red=0;blue=1;green=0;}
		else {red=0;blue=0;green=0;}

    osDelay(1);
  }
  /* USER CODE END run_led_task_ */
}

void pos_yaw_task_(void *argument)
{
  /* USER CODE BEGIN pos_yaw_task_ */
	static uint8_t delay_6_timer = 0;
  /* Infinite loop */

  for(;;)
  {
		delay_6_timer++;
		if(delay_6_timer>=6)
		{
			robot_pos.fpPosQ = GET_YAW(yaw_gyro_rad,vision_data_recieve.radar_yaw,gyro_w);
			delay_6_timer = 0;
		}
    osDelay(1);
  }
  /* USER CODE END pos_yaw_task_ */
}
